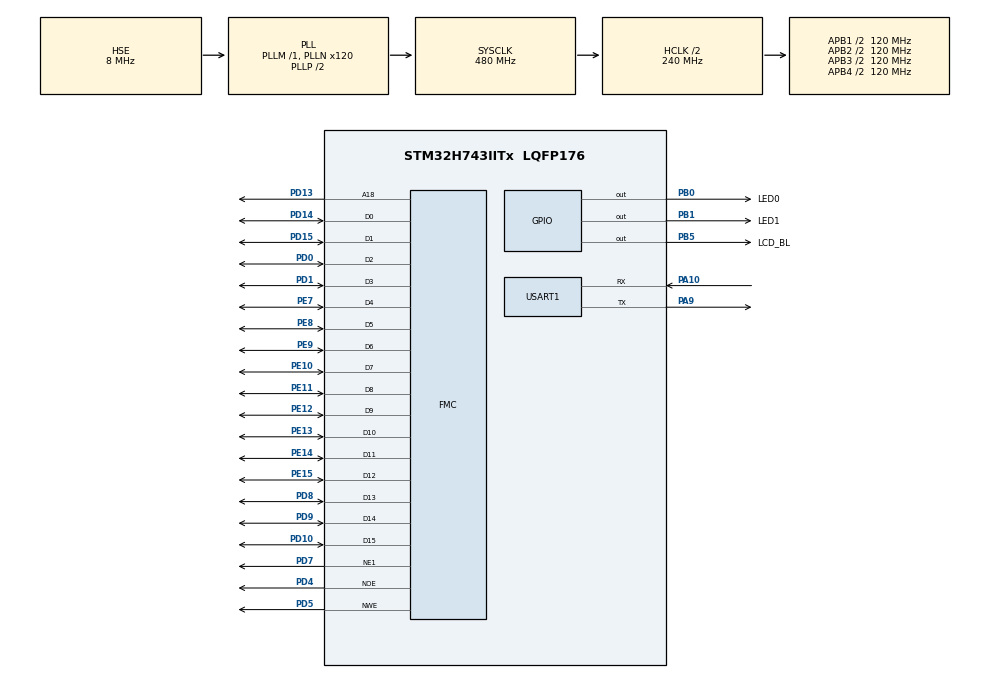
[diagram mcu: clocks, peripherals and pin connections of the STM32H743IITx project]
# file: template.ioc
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Dma.Request0=USART1_TX
Dma.USART1_TX.0.Direction=DMA_MEMORY_TO_PERIPH
Dma.USART1_TX.0.EventEnable=DISABLE
Dma.USART1_TX.0.FIFOMode=DMA_FIFOMODE_DISABLE
Dma.USART1_TX.0.Instance=DMA1_Stream0
Dma.USART1_TX.0.MemDataAlignment=DMA_MDATAALIGN_BYTE
Dma.USART1_TX.0.MemInc=DMA_MINC_ENABLE
Dma.USART1_TX.0.Mode=DMA_NORMAL
Dma.USART1_TX.0.PeriphDataAlignment=DMA_PDATAALIGN_BYTE
Dma.USART1_TX.0.PeriphInc=DMA_PINC_DISABLE
Dma.USART1_TX.0.Polarity=HAL_DMAMUX_REQ_GEN_RISING
Dma.USART1_TX.0.Priority=DMA_PRIORITY_LOW
Dma.USART1_TX.0.RequestNumber=1
Dma.USART1_TX.0.SignalID=NONE
Dma.USART1_TX.0.SyncEnable=DISABLE
Dma.USART1_TX.0.SyncPolarity=HAL_DMAMUX_SYNC_NO_EVENT
Dma.USART1_TX.0.SyncRequestNumber=1
Dma.USART1_TX.0.SyncSignalID=NONE
FMC.BusTurnAroundDuration1=10
FMC.DataSetupTime1=85
FMC.ExtendedAddressSetupTime1=15
FMC.ExtendedBusTurnAroundDuration1=0
FMC.ExtendedDataSetupTime1=15
FMC.ExtendedMode1=FMC_EXTENDED_MODE_ENABLE
FMC.WriteFifo1=FMC_WRITE_FIFO_ENABLE
FREERTOS.Tasks01=defaultTask,0,128,StartDefaultTask,Default,NULL,Dynamic,NULL,NULL
FREERTOS.configENABLE_FPU=1
FREERTOS.configUSE_TICK_HOOK=1
Mcu.Family=STM32H7
Mcu.Name=STM32H743IITx
Mcu.Package=LQFP176
NVIC.DMA1_Stream0_IRQn=true\:5\:0\:false\:false\:true\:true\:false\:true
NVIC.PriorityGroup=NVIC_PRIORITYGROUP_4
NVIC.TIM8_TRG_COM_TIM14_IRQn=true\:15\:0\:false\:false\:true\:false\:false\:true
NVIC.TimeBase=TIM8_TRG_COM_TIM14_IRQn
NVIC.TimeBaseIP=TIM14
PA10.Mode=Asynchronous
PA10.Signal=USART1_RX
PA13\ (JTMS/SWDIO).Mode=Serial_Wire
PA13\ (JTMS/SWDIO).Signal=DEBUG_JTMS-SWDIO
PA14\ (JTCK/SWCLK).Mode=Serial_Wire
PA14\ (JTCK/SWCLK).Signal=DEBUG_JTCK-SWCLK
PA9.Mode=Asynchronous
PA9.Signal=USART1_TX
PB0.GPIO_Label=LED0
PB0.Signal=GPIO_Output
PB1.GPIO_Label=LED1
PB1.Signal=GPIO_Output
PB5.GPIO_Label=LCD_BL
PB5.PinState=GPIO_PIN_SET
PB5.Signal=GPIO_Output
PC14-OSC32_IN\ (OSC32_IN).Mode=LSE-External-Oscillator
PC14-OSC32_IN\ (OSC32_IN).Signal=RCC_OSC32_IN
PC15-OSC32_OUT\ (OSC32_OUT).Mode=LSE-External-Oscillator
PC15-OSC32_OUT\ (OSC32_OUT).Signal=RCC_OSC32_OUT
PD0.GPIO_PuPd=GPIO_PULLUP
PD0.Signal=FMC_D2_DA2
PD1.GPIO_PuPd=GPIO_PULLUP
PD1.Signal=FMC_D3_DA3
PD10.GPIO_PuPd=GPIO_PULLUP
PD10.Signal=FMC_D15_DA15
PD13.Signal=FMC_A18
PD14.GPIO_PuPd=GPIO_PULLUP
PD14.Signal=FMC_D0_DA0
PD15.GPIO_PuPd=GPIO_PULLUP
PD15.Signal=FMC_D1_DA1
PD4.GPIO_PuPd=GPIO_PULLUP
PD4.Signal=FMC_NOE
PD5.GPIO_PuPd=GPIO_PULLUP
PD5.Signal=FMC_NWE
PD7.Mode=NorPsramChipSelect1_1
PD7.Signal=FMC_NE1
PD8.GPIO_PuPd=GPIO_PULLUP
PD8.Signal=FMC_D13_DA13
PD9.GPIO_PuPd=GPIO_PULLUP
PD9.Signal=FMC_D14_DA14
PE10.GPIO_PuPd=GPIO_PULLUP
PE10.Signal=FMC_D7_DA7
PE11.GPIO_PuPd=GPIO_PULLUP
PE11.Signal=FMC_D8_DA8
PE12.GPIO_PuPd=GPIO_PULLUP
PE12.Signal=FMC_D9_DA9
PE13.GPIO_PuPd=GPIO_PULLUP
PE13.Signal=FMC_D10_DA10
PE14.GPIO_PuPd=GPIO_PULLUP
PE14.Signal=FMC_D11_DA11
PE15.GPIO_PuPd=GPIO_PULLUP
PE15.Signal=FMC_D12_DA12
PE7.GPIO_PuPd=GPIO_PULLUP
PE7.Signal=FMC_D4_DA4
PE8.GPIO_PuPd=GPIO_PULLUP
PE8.Signal=FMC_D5_DA5
PE9.GPIO_PuPd=GPIO_PULLUP
PE9.Signal=FMC_D6_DA6
PH0-OSC_IN\ (PH0).Mode=HSE-External-Oscillator
PH0-OSC_IN\ (PH0).Signal=RCC_OSC_IN
PH1-OSC_OUT\ (PH1).Mode=HSE-External-Oscillator
PH1-OSC_OUT\ (PH1).Signal=RCC_OSC_OUT
ProjectManager.HeapSize=0x200
ProjectManager.StackSize=0x400
ProjectManager.TargetToolchain=Makefile
RCC.ADCFreq_Value=16125000
RCC.APB1Freq_Value=120000000
RCC.APB2Freq_Value=120000000
RCC.APB3Freq_Value=120000000
RCC.APB4Freq_Value=120000000
RCC.CortexFreq_Value=480000000
RCC.D1PPRE=RCC_APB3_DIV2
RCC.D2PPRE1=RCC_APB1_DIV2
RCC.D2PPRE2=RCC_APB2_DIV2
RCC.D3PPRE=RCC_APB4_DIV2
RCC.DIVM1=1
RCC.DIVN1=120
RCC.HCLKFreq_Value=240000000
RCC.HPRE=RCC_HCLK_DIV2
RCC.HSE_VALUE=8000000
RCC.PLL2FRACN=0
RCC.PLL3FRACN=0
RCC.PLLFRACN=0
RCC.PLLSourceVirtual=RCC_PLLSOURCE_HSE
RCC.SYSCLKFreq_VALUE=480000000
RCC.SYSCLKSource=RCC_SYSCLKSOURCE_PLLCLK
RCC.USBFreq_Value=480000000
SH.FMC_A18.0=FMC_A18,A18_1
SH.FMC_D0_DA0.0=FMC_D0,16b-d1
SH.FMC_D10_DA10.0=FMC_D10,16b-d1
SH.FMC_D11_DA11.0=FMC_D11,16b-d1
SH.FMC_D12_DA12.0=FMC_D12,16b-d1
SH.FMC_D13_DA13.0=FMC_D13,16b-d1
SH.FMC_D14_DA14.0=FMC_D14,16b-d1
SH.FMC_D15_DA15.0=FMC_D15,16b-d1
SH.FMC_D1_DA1.0=FMC_D1,16b-d1
SH.FMC_D2_DA2.0=FMC_D2,16b-d1
SH.FMC_D3_DA3.0=FMC_D3,16b-d1
SH.FMC_D4_DA4.0=FMC_D4,16b-d1
SH.FMC_D5_DA5.0=FMC_D5,16b-d1
SH.FMC_D6_DA6.0=FMC_D6,16b-d1
SH.FMC_D7_DA7.0=FMC_D7,16b-d1
SH.FMC_D8_DA8.0=FMC_D8,16b-d1
SH.FMC_D9_DA9.0=FMC_D9,16b-d1
SH.FMC_NOE.0=FMC_NOE,Lcd1
SH.FMC_NWE.0=FMC_NWE,Lcd1
USART1.VirtualMode-Asynchronous=VM_ASYNC
VP_FREERTOS_VS_CMSIS_V1.Mode=CMSIS_V1
VP_SYS_VS_tim14.Mode=TIM14
board=custom

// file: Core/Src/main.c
/* USER CODE BEGIN Header */
/**
  ******************************************************************************
  * @file           : main.c
  * @brief          : Main program body
  ******************************************************************************
  * @attention
  *
  * <h2><center>&copy; Copyright (c) 2021 STMicroelectronics.
  * All rights reserved.</center></h2>
  *
  * This software component is licensed by ST under BSD 3-Clause license,
  * the "License"; You may not use this file except in compliance with the
  * License. You may obtain a copy of the License at:
  *                        opensource.org/licenses/BSD-3-Clause
  *
  ******************************************************************************
  */
/* USER CODE END Header */
#include "main.h"
#include "cmsis_os.h"
#include "dma.h"
#include "usart.h"
#include "gpio.h"
#include "fmc.h"

/* USER CODE BEGIN Includes */
#include "LCD.h"
#include "lvgl.h"
/* USER CODE END Includes */

void SystemClock_Config(void);
void MX_FREERTOS_Init(void);

int main(void)
{

  /* MCU Configuration--------------------------------------------------------*/

  /* Reset of all peripherals, Initializes the Flash interface and the Systick. */
  HAL_Init();

  /* Configure the system clock */
  SystemClock_Config();

  /* Initialize all configured peripherals */
  MX_GPIO_Init();
  MX_FMC_Init();
  MX_DMA_Init();
  MX_USART1_UART_Init();

  /* Call init function for freertos objects (in freertos.c) */
  MX_FREERTOS_Init();
  /* Start scheduler */
  osKernelStart();

  /* We should never get here as control is now taken by the scheduler */
  /* Infinite loop */
  while (1)
  {

  }
}

void SystemClock_Config(void)
{
  RCC_OscInitTypeDef RCC_OscInitStruct = {0};
  RCC_ClkInitTypeDef RCC_ClkInitStruct = {0};

  /** Supply configuration update enable
  */
  HAL_PWREx_ConfigSupply(PWR_LDO_SUPPLY);
  /** Configure the main internal regulator output voltage
  */
  __HAL_PWR_VOLTAGESCALING_CONFIG(PWR_REGULATOR_VOLTAGE_SCALE0);

  while(!__HAL_PWR_GET_FLAG(PWR_FLAG_VOSRDY)) {}
  /** Initializes the RCC Oscillators according to the specified parameters
  * in the RCC_OscInitTypeDef structure.
  */
  RCC_OscInitStruct.OscillatorType = RCC_OSCILLATORTYPE_HSE;
  RCC_OscInitStruct.HSEState = RCC_HSE_ON;
  RCC_OscInitStruct.PLL.PLLState = RCC_PLL_ON;
  RCC_OscInitStruct.PLL.PLLSource = RCC_PLLSOURCE_HSE;
  RCC_OscInitStruct.PLL.PLLM = 1;
  RCC_OscInitStruct.PLL.PLLN = 120;
  RCC_OscInitStruct.PLL.PLLP = 2;
  RCC_OscInitStruct.PLL.PLLQ = 2;
  RCC_OscInitStruct.PLL.PLLR = 2;
  RCC_OscInitStruct.PLL.PLLRGE = RCC_PLL1VCIRANGE_3;
  RCC_OscInitStruct.PLL.PLLVCOSEL = RCC_PLL1VCOWIDE;
  RCC_OscInitStruct.PLL.PLLFRACN = 0;
  if (HAL_RCC_OscConfig(&RCC_OscInitStruct) != HAL_OK)
  {
    Error_Handler();
  }
  /** Initializes the CPU, AHB and APB buses clocks
  */
  RCC_ClkInitStruct.ClockType = RCC_CLOCKTYPE_HCLK|RCC_CLOCKTYPE_SYSCLK
                              |RCC_CLOCKTYPE_PCLK1|RCC_CLOCKTYPE_PCLK2
                              |RCC_CLOCKTYPE_D3PCLK1|RCC_CLOCKTYPE_D1PCLK1;
  RCC_ClkInitStruct.SYSCLKSource = RCC_SYSCLKSOURCE_PLLCLK;
  RCC_ClkInitStruct.SYSCLKDivider = RCC_SYSCLK_DIV1;
  RCC_ClkInitStruct.AHBCLKDivider = RCC_HCLK_DIV2;
  RCC_ClkInitStruct.APB3CLKDivider = RCC_APB3_DIV2;
  RCC_ClkInitStruct.APB1CLKDivider = RCC_APB1_DIV2;
  RCC_ClkInitStruct.APB2CLKDivider = RCC_APB2_DIV2;
  RCC_ClkInitStruct.APB4CLKDivider = RCC_APB4_DIV2;

  if (HAL_RCC_ClockConfig(&RCC_ClkInitStruct, FLASH_LATENCY_4) != HAL_OK)
  {
    Error_Handler();
  }
}

void HAL_TIM_PeriodElapsedCallback(TIM_HandleTypeDef *htim)
{
  if (htim->Instance == TIM14) {
    HAL_IncTick();
  }
}

void Error_Handler(void)
{
  __disable_irq();
  while (1)
  {
  }
}

/************************ (C) COPYRIGHT STMicroelectronics *****END OF FILE****/

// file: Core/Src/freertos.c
/* USER CODE BEGIN Header */
/**
  ******************************************************************************
  * File Name          : freertos.c
  * Description        : Code for freertos applications
  ******************************************************************************
  * @attention
  *
  * <h2><center>&copy; Copyright (c) 2021 STMicroelectronics.
  * All rights reserved.</center></h2>
  *
  * This software component is licensed by ST under Ultimate Liberty license
  * SLA0044, the "License"; You may not use this file except in compliance with
  * the License. You may obtain a copy of the License at:
  *                             www.st.com/SLA0044
  *
  ******************************************************************************
  */
/* USER CODE END Header */

#include "FreeRTOS.h"
#include "task.h"
#include "main.h"
#include "cmsis_os.h"

/* USER CODE BEGIN Includes */
#include "LCD.h"
#include "Mytouch.h"
#include "lvgl.h"
/* USER CODE END Includes */

/* USER CODE BEGIN PD */
#define LVGL_TICK 5
/* USER CODE END PD */

/* USER CODE BEGIN Variables */
osThreadId BlinkTaskHandle;
osThreadId lvglTaskHandle;
/* USER CODE END Variables */
osThreadId defaultTaskHandle;

/* USER CODE BEGIN FunctionPrototypes */
void lvgl_init(void){
  /* lvgl init */
  lv_init();
  lv_port_disp_init();        // 显示器初始化
  lv_port_indev_init();       // 输入设备初始化（如果没有实现就注释掉）
  // lv_port_fs_init();          // 文件系统设备初始化（如果没有实现就注释掉）
  lv_example_keyboard_1();
  // wave_chart_init();
  // wave_btn();
  // distortion_list();
  // THD_label();
  for (;;)
  {
    osDelay(LVGL_TICK);
    lv_task_handler();
  }
}

void LED_Blinks(void){
  for(;;)
  {
    HAL_GPIO_TogglePin(LED0_GPIO_Port,LED0_Pin);
    //printf("hello world\r\n");
    osDelay(250);
  }
}
/* USER CODE END FunctionPrototypes */

void StartDefaultTask(void const * argument);

void MX_FREERTOS_Init(void); /* (MISRA C 2004 rule 8.1) */

/* GetIdleTaskMemory prototype (linked to static allocation support) */
void vApplicationGetIdleTaskMemory( StaticTask_t **ppxIdleTaskTCBBuffer, StackType_t **ppxIdleTaskStackBuffer, uint32_t *pulIdleTaskStackSize );

/* Hook prototypes */
void vApplicationTickHook(void);

/* USER CODE BEGIN 3 */
__weak void vApplicationTickHook( void )
{
   /* This function will be called by each tick interrupt if
   configUSE_TICK_HOOK is set to 1 in FreeRTOSConfig.h. User code can be
   added here, but the tick hook is called from an interrupt context, so
   code must not attempt to block, and only the interrupt safe FreeRTOS API
   functions can be used (those that end in FromISR()). */
   lv_tick_inc(1);
}
/* USER CODE END 3 */

/* USER CODE BEGIN GET_IDLE_TASK_MEMORY */
static StaticTask_t xIdleTaskTCBBuffer;
static StackType_t xIdleStack[configMINIMAL_STACK_SIZE];

void vApplicationGetIdleTaskMemory( StaticTask_t **ppxIdleTaskTCBBuffer, StackType_t **ppxIdleTaskStackBuffer, uint32_t *pulIdleTaskStackSize )
{
  *ppxIdleTaskTCBBuffer = &xIdleTaskTCBBuffer;
  *ppxIdleTaskStackBuffer = &xIdleStack[0];
  *pulIdleTaskStackSize = configMINIMAL_STACK_SIZE;
  /* place for user code */
}
/* USER CODE END GET_IDLE_TASK_MEMORY */

void MX_FREERTOS_Init(void) {

  /* Create the thread(s) */
  /* definition and creation of defaultTask */
  osThreadDef(defaultTask, StartDefaultTask, osPriorityNormal, 0, 128);
  defaultTaskHandle = osThreadCreate(osThread(defaultTask), NULL);

  /* USER CODE BEGIN RTOS_THREADS */
  osThreadDef(lvgl, lvgl_init, osPriorityRealtime , 0, 1024);
  lvglTaskHandle = osThreadCreate(osThread(lvgl), NULL);
  osThreadDef(Blink, LED_Blinks, osPriorityNormal, 0, 256);
  BlinkTaskHandle = osThreadCreate(osThread(Blink), NULL);
  /* USER CODE END RTOS_THREADS */

}

void StartDefaultTask(void const * argument)
{
  /* USER CODE BEGIN StartDefaultTask */
  /* Infinite loop */
  for(;;)
  {
    osDelay(100);
  }
  /* USER CODE END StartDefaultTask */
}

/************************ (C) COPYRIGHT STMicroelectronics *****END OF FILE****/
